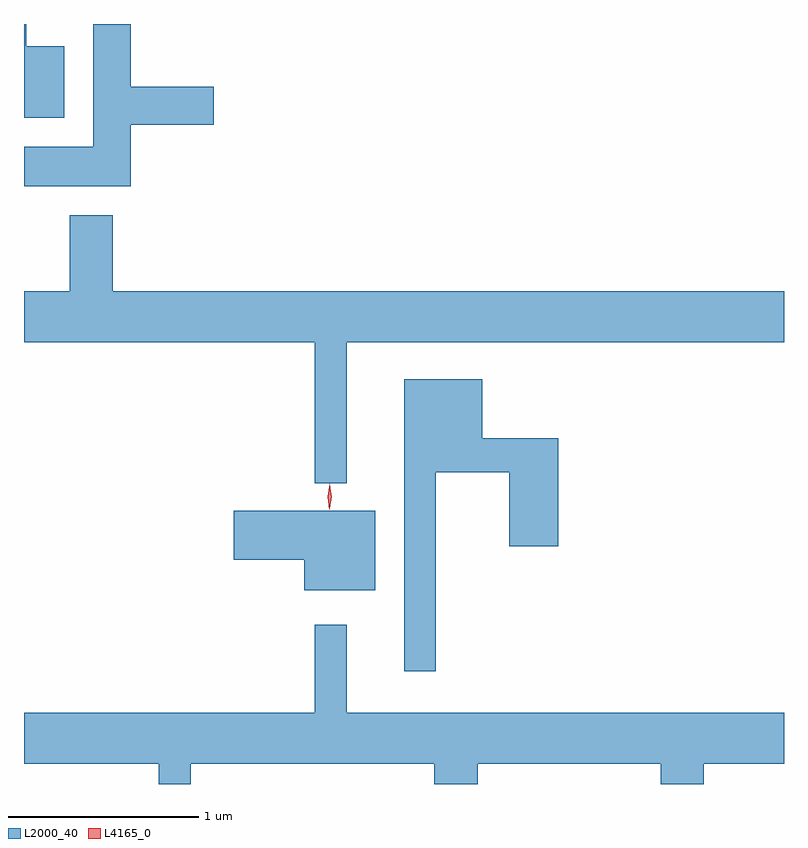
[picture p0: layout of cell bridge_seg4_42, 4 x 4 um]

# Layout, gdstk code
import gdstk
lib = gdstk.Library(unit=1e-6, precision=1e-09)
def P(c, l, *ps):  # polygons
    for p in ps: c.add(gdstk.Polygon(p, *l))
L2000_40 = (2000, 40)
L4165_0 = (4165, 0)

bridge_seg4_42 = lib.new_cell('bridge_seg4_42')
P(bridge_seg4_42, L2000_40, [(1289.994,1373.994),(1289.794,1373.994),(1289.794,1374.11),(1289.781,1374.11),(1289.781,1373.616),(1289.994,1373.616)],
  [(1290.344,1373.581),(1290.779,1373.581),(1290.779,1373.779),(1290.344,1373.779),(1290.344,1374.11),(1290.146,1374.11),(1290.146,1373.464),(1289.781,1373.464),(1289.781,1373.256),(1290.344,1373.256)],
  [(1291.479,1372.436),(1293.781,1372.436),(1293.781,1372.704),(1290.249,1372.704),(1290.249,1373.104),(1290.021,1373.104),(1290.021,1372.704),(1289.781,1372.704),(1289.781,1372.436),(1291.311,1372.436),(1291.311,1371.693),(1291.479,1371.693)],
  [(1291.949,1371.751),(1292.336,1371.751),(1292.336,1371.361),(1292.594,1371.361),(1292.594,1371.929),(1292.194,1371.929),(1292.194,1372.239),(1291.781,1372.239),(1291.781,1370.703),(1291.949,1370.703)],
  [(1291.629,1371.549),(1290.886,1371.549),(1290.886,1371.291),(1291.256,1371.291),(1291.256,1371.131),(1291.629,1371.131)],
  [(1290.659,1370.216),(1291.941,1370.216),(1291.941,1370.11),(1292.169,1370.11),(1292.169,1370.216),(1293.131,1370.216),(1293.131,1370.11),(1293.359,1370.11),(1293.359,1370.216),(1293.781,1370.216),(1293.781,1370.484),(1291.479,1370.484),(1291.479,1370.948),(1291.311,1370.948),(1291.311,1370.484),(1289.781,1370.484),(1289.781,1370.216),(1290.491,1370.216),(1290.491,1370.11),(1290.659,1370.11)])
P(bridge_seg4_42, L4165_0, [(1291.388,1371.554),(1291.388,1371.554),(1291.379,1371.622),(1291.389,1371.69),(1291.39,1371.69),(1291.39,1371.69),(1291.399,1371.622),(1291.388,1371.554)],
  [(1291.389,1371.56),(1291.38,1371.623),(1291.389,1371.686),(1291.39,1371.687),(1291.39,1371.686),(1291.4,1371.623),(1291.39,1371.56),(1291.39,1371.56)])

lib.write_gds('bridge_seg4_42.gds')
